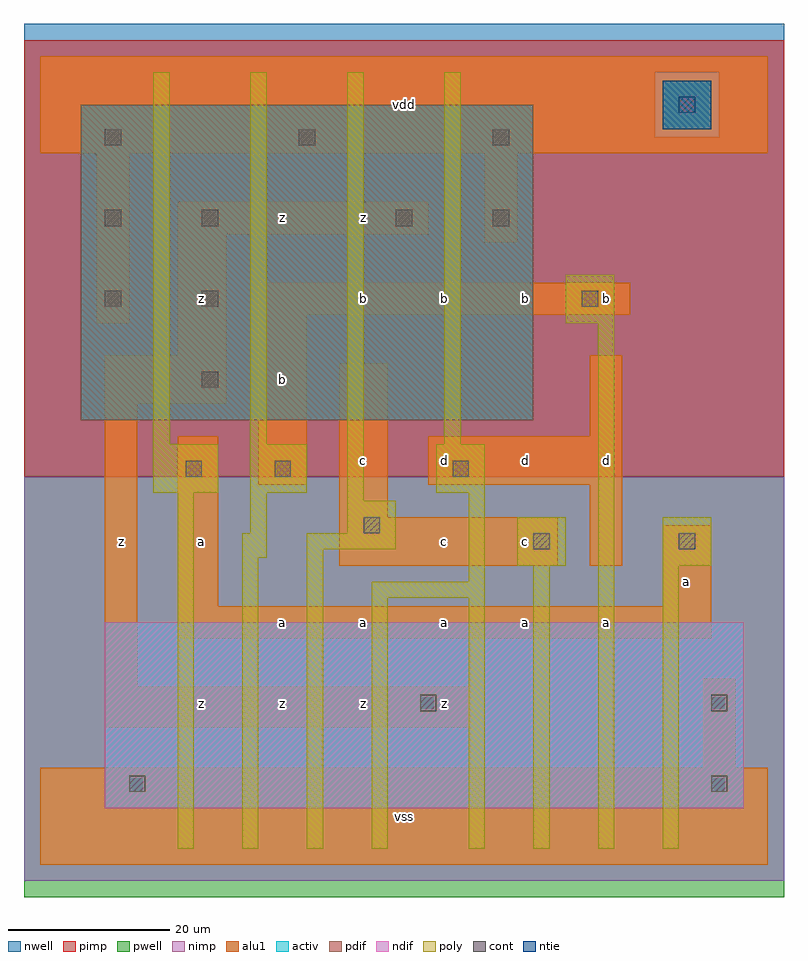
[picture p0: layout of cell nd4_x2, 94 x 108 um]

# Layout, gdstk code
import gdstk
lib = gdstk.Library(unit=1e-6, precision=1e-09)
def R(c, l, rs):  # rectangles x0, y0, x1, y1
    for r in rs: c.add(gdstk.rectangle(r[:2], r[2:], *l))
def A(c, l, x, y, w, h, nx, ny, dx, dy):  # array of equal rectangles
    R(c, l, [(x+i*dx, y+j*dy, x+i*dx+w, y+j*dy+h) for i in range(nx) for j in range(ny)])
ndif = (3, 0)
pdif = (4, 0)
ntie = (5, 0)
cont = (25, 0)
pwell = (41, 0)
nwell = (42, 0)
activ = (43, 0)
pimp = (44, 0)
nimp = (45, 0)
poly = (46, 0)
alu1 = (49, 0)

nd4_x2 = lib.new_cell('nd4_x2')
R(nd4_x2, ndif, [(8,7,87,30)])
R(nd4_x2, pdif, [(5,55,61,94)])
R(nd4_x2, ntie, [(77,91,83,97)])
A(nd4_x2, cont, 20, 59, 2, 2, 1, 3, 0, 10)
A(nd4_x2, cont, 8, 89, 2, 2, 3, 1, 24, 0)
R(nd4_x2, cont, [(11,9,13,11), (83,9,85,11), (47,19,49,21), (83,19,85,21), (61,39,63,41), (79,39,81,41), (40,41,42,43), (18,48,20,50), (29,48,31,50), (51,48,53,50), (8,69,10,71), (67,69,69,71), (8,79,10,81), (44,79,46,81), (56,79,58,81), (79,93,81,95)])
R(nd4_x2, pwell, [(-2,-4,92,48)])
R(nd4_x2, nwell, [(-2,48,92,104)])
R(nd4_x2, activ, [(8,7,87,30), (5,55,61,94), (77,91,83,97)])
R(nd4_x2, pimp, [(-2,48,92,90), (-2,90,76,98), (84,90,92,98), (-2,98,92,102)])
R(nd4_x2, nimp, [(-2,-2,92,48), (76,90,84,98)])
R(nd4_x2, poly, [(17,2,19,46), (25,2,27,38), (33,2,35,39), (41,2,43,33), (53,2,55,33), (61,2,63,37), (69,2,71,67), (77,2,79,37), (41,33,55,35), (53,35,55,46), (59,37,65,43), (77,37,83,43), (25,38,28,41), (33,39,44,41), (26,41,28,46), (38,41,44,45), (38,45,40,98), (14,46,22,52), (26,46,33,52), (49,46,55,52), (14,52,16,98), (26,52,28,98), (50,52,52,98), (65,67,71,73)])
R(nd4_x2, alu1, [(0,0,90,12), (82,12,86,23), (8,17,53,22), (8,22,12,57), (17,28,83,32), (17,32,22,53), (77,32,83,42), (37,37,64,43), (68,37,72,47), (37,43,43,62), (27,47,33,68), (48,47,72,53), (68,53,72,63), (8,57,23,63), (17,63,23,78), (7,67,11,88), (27,68,73,72), (55,77,59,88), (17,78,48,82), (0,88,90,100)])
nd4_x2.add(gdstk.Label('z', (10,40), layer=49, texttype=0))
nd4_x2.add(gdstk.Label('z', (30,20), layer=49, texttype=0))
nd4_x2.add(gdstk.Label('z', (20,20), layer=49, texttype=0))
nd4_x2.add(gdstk.Label('a', (30,30), layer=49, texttype=0))
nd4_x2.add(gdstk.Label('a', (20,40), layer=49, texttype=0))
nd4_x2.add(gdstk.Label('b', (30,60), layer=49, texttype=0))
nd4_x2.add(gdstk.Label('z', (20,70), layer=49, texttype=0))
nd4_x2.add(gdstk.Label('z', (30,80), layer=49, texttype=0))
nd4_x2.add(gdstk.Label('vss', (45,6), layer=49, texttype=0))
nd4_x2.add(gdstk.Label('z', (40,20), layer=49, texttype=0))
nd4_x2.add(gdstk.Label('z', (50,20), layer=49, texttype=0))
nd4_x2.add(gdstk.Label('a', (40,30), layer=49, texttype=0))
nd4_x2.add(gdstk.Label('a', (50,30), layer=49, texttype=0))
nd4_x2.add(gdstk.Label('c', (50,40), layer=49, texttype=0))
nd4_x2.add(gdstk.Label('c', (40,50), layer=49, texttype=0))
nd4_x2.add(gdstk.Label('d', (50,50), layer=49, texttype=0))
nd4_x2.add(gdstk.Label('b', (50,70), layer=49, texttype=0))
nd4_x2.add(gdstk.Label('b', (40,70), layer=49, texttype=0))
nd4_x2.add(gdstk.Label('z', (40,80), layer=49, texttype=0))
nd4_x2.add(gdstk.Label('vdd', (45,94), layer=49, texttype=0))
nd4_x2.add(gdstk.Label('a', (60,30), layer=49, texttype=0))
nd4_x2.add(gdstk.Label('a', (70,30), layer=49, texttype=0))
nd4_x2.add(gdstk.Label('c', (60,40), layer=49, texttype=0))
nd4_x2.add(gdstk.Label('d', (70,50), layer=49, texttype=0))
nd4_x2.add(gdstk.Label('d', (60,50), layer=49, texttype=0))
nd4_x2.add(gdstk.Label('b', (70,70), layer=49, texttype=0))
nd4_x2.add(gdstk.Label('b', (60,70), layer=49, texttype=0))
nd4_x2.add(gdstk.Label('a', (80,35), layer=49, texttype=0))

lib.write_gds('nd4_x2.gds')
